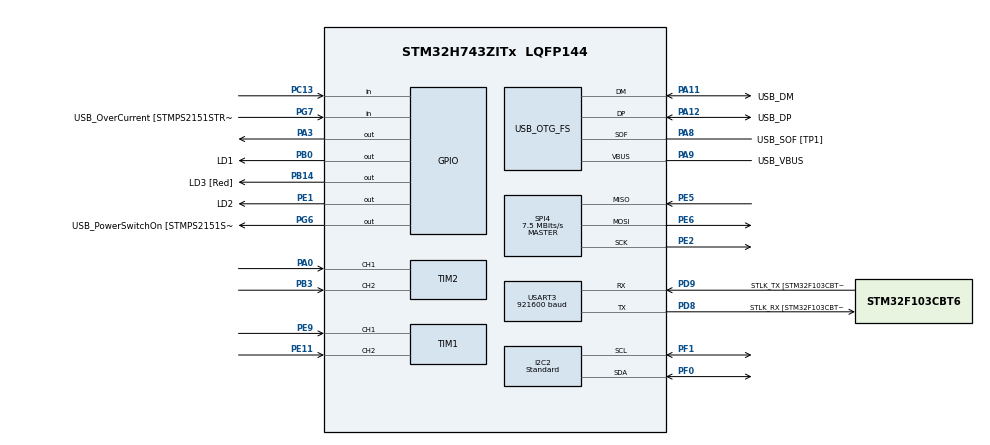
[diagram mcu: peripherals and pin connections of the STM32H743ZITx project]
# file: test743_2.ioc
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I2C2.I2C_Speed_Mode=I2C_Standard
I2C2.Timing=0x307075B1
Mcu.Family=STM32H7
Mcu.Name=STM32H743ZITx
Mcu.Package=LQFP144
NVIC.I2C2_ER_IRQn=true\:13\:0\:true\:false\:true\:true\:true
NVIC.I2C2_EV_IRQn=true\:13\:0\:true\:false\:true\:true\:true
NVIC.PriorityGroup=NVIC_PRIORITYGROUP_4
NVIC.SPI4_IRQn=true\:14\:0\:true\:false\:true\:true\:true
NVIC.TIM15_IRQn=true\:0\:0\:false\:false\:true\:true\:true
NVIC.TIM3_IRQn=true\:0\:0\:false\:false\:true\:true\:true
NVIC.TIM5_IRQn=true\:14\:0\:true\:false\:true\:true\:true
PA0.Signal=S_TIM2_CH1
PA1.GPIO_Label=RMII_REF_CLK
PA1.Signal=ETH_REF_CLK
PA10.GPIO_Label=USB_ID
PA10.Signal=USB_OTG_FS_ID
PA11.GPIO_Label=USB_DM
PA11.Mode=Device_Only
PA11.Signal=USB_OTG_FS_DM
PA12.GPIO_Label=USB_DP
PA12.Mode=Device_Only
PA12.Signal=USB_OTG_FS_DP
PA2.GPIO_Label=RMII_MDIO
PA2.Signal=ETH_MDIO
PA3.PinState=GPIO_PIN_SET
PA3.Signal=GPIO_Output
PA7.GPIO_Label=RMII_CRS_DV
PA7.Signal=ETH_CRS_DV
PA8.GPIO_Label=USB_SOF [TP1]
PA8.Mode=Activate_SOF_FS
PA8.Signal=USB_OTG_FS_SOF
PA9.GPIO_Label=USB_VBUS
PA9.Mode=Activate_VBUS
PA9.Signal=USB_OTG_FS_VBUS
PB0.GPIO_Label=LD1
PB0.Signal=GPIO_Output
PB13.GPIO_Label=RMII_TXD1
PB13.Signal=ETH_TXD1
PB14.GPIO_Label=LD3 [Red]
PB14.Signal=GPIO_Output
PB3\ (JTDO/TRACESWO).Signal=S_TIM2_CH2
PC1.GPIO_Label=RMII_MDC
PC1.Signal=ETH_MDC
PC13.Signal=GPIO_Input
PC14-OSC32_IN\ (OSC32_IN).Mode=LSE-External-Oscillator
PC14-OSC32_IN\ (OSC32_IN).Signal=RCC_OSC32_IN
PC15-OSC32_OUT\ (OSC32_OUT).Mode=LSE-External-Oscillator
PC15-OSC32_OUT\ (OSC32_OUT).Signal=RCC_OSC32_OUT
PC4.GPIO_Label=RMII_RXD0
PC4.Signal=ETH_RXD0
PC5.GPIO_Label=RMII_RXD1
PC5.Signal=ETH_RXD1
PD8.GPIO_Label=STLK_RX [STM32F103CBT6_PA3]
PD8.Mode=Asynchronous
PD8.Signal=USART3_TX
PD9.GPIO_Label=STLK_TX [STM32F103CBT6_PA2]
PD9.Mode=Asynchronous
PD9.Signal=USART3_RX
PE1.GPIO_Label=LD2
PE1.Signal=GPIO_Output
PE11.Signal=S_TIM1_CH2
PE2.Mode=Full_Duplex_Master
PE2.Signal=SPI4_SCK
PE5.Mode=Full_Duplex_Master
PE5.Signal=SPI4_MISO
PE6.Mode=Full_Duplex_Master
PE6.Signal=SPI4_MOSI
PE9.Signal=S_TIM1_CH1
PF0.Mode=I2C
PF0.Signal=I2C2_SDA
PF1.Mode=I2C
PF1.Signal=I2C2_SCL
PG11.GPIO_Label=RMII_TX_EN
PG11.Signal=ETH_TX_EN
PG13.GPIO_Label=RMII_TXD0
PG13.Signal=ETH_TXD0
PG6.GPIO_Label=USB_PowerSwitchOn [STMPS2151STR_EN]
PG6.Signal=GPIO_Output
PG7.GPIO_Label=USB_OverCurrent [STMPS2151STR_FAULT]
PG7.Signal=GPIO_Input
PH0-OSC_IN\ (PH0).GPIO_Label=MCO
PH0-OSC_IN\ (PH0).Mode=HSE-External-Clock-Source
PH0-OSC_IN\ (PH0).Signal=RCC_OSC_IN
ProjectManager.HeapSize=0x200
ProjectManager.StackSize=0x400
ProjectManager.TargetToolchain=STM32CubeIDE
RCC.48MHZClocksFreq_Value=24000000
RCC.ADCFreq_Value=1024000000
RCC.AHBFreq_Value=216000000
RCC.APB1CLKDivider=RCC_HCLK_DIV4
RCC.APB1Freq_Value=120000000
RCC.APB1TimFreq_Value=108000000
RCC.APB2CLKDivider=RCC_HCLK_DIV2
RCC.APB2Freq_Value=120000000
RCC.APB2TimFreq_Value=216000000
RCC.APB3Freq_Value=120000000
RCC.APB4Freq_Value=120000000
RCC.CortexFreq_Value=480000000
RCC.D1PPRE=RCC_APB3_DIV2
RCC.D2PPRE1=RCC_APB1_DIV2
RCC.D2PPRE2=RCC_APB2_DIV2
RCC.D3PPRE=RCC_APB4_DIV2
RCC.DIVM1=2
RCC.DIVM2=1
RCC.DIVM3=1
RCC.DIVN1=240
RCC.DIVN2=256
RCC.DIVN3=256
RCC.DIVQ1=4
RCC.DIVQ2=1
RCC.DIVQ3=1
RCC.HCLKFreq_Value=240000000
RCC.HPRE=RCC_HCLK_DIV2
RCC.HSE_VALUE=8000000
RCC.HSI_VALUE=64000000
RCC.PLLFRACN=0
RCC.PLLM=25
RCC.PLLMUL=RCC_PLL_MUL9
RCC.PLLN=432
RCC.PLLQ=9
RCC.PLLSourceVirtual=RCC_PLLSOURCE_HSE
RCC.PRESCALERUSB=RCC_USBCLKSOURCE_PLL_DIV1_5
RCC.PWR_Regulator_Voltage_Scale=PWR_REGULATOR_VOLTAGE_SCALE1
RCC.SYSCLKFreq_VALUE=480000000
RCC.SYSCLKSource=RCC_SYSCLKSOURCE_PLLCLK
RCC.SYSCLKSourceVirtual=RCC_SYSCLKSOURCE_PLLCLK
RCC.USBCLockSelection=RCC_USBCLKSOURCE_HSI48
RCC.USBFreq_Value=48000000
RCC.VCOOutputFreq_Value=432000000
SH.S_TIM1_CH1.0=TIM1_CH1,Encoder_Interface
SH.S_TIM1_CH2.0=TIM1_CH2,Encoder_Interface
SH.S_TIM2_CH1.0=TIM2_CH1,Encoder_Interface
SH.S_TIM2_CH2.0=TIM2_CH2,Encoder_Interface
SPI4.BaudRatePrescaler=SPI_BAUDRATEPRESCALER_16
SPI4.CLKPhase=SPI_PHASE_2EDGE
SPI4.CLKPolarity=SPI_POLARITY_HIGH
SPI4.CalculateBaudRate=7.5 MBits/s
SPI4.DataSize=SPI_DATASIZE_8BIT
SPI4.Direction=SPI_DIRECTION_2LINES
SPI4.IOSwap=SPI_IO_SWAP_DISABLE
SPI4.Mode=SPI_MODE_MASTER
SPI4.NSSPMode=SPI_NSS_PULSE_ENABLE
SPI4.VirtualType=VM_MASTER
TIM1.EncoderMode=TIM_ENCODERMODE_TI12
TIM15.Period=49
TIM15.Prescaler=239
TIM2.EncoderMode=TIM_ENCODERMODE_TI12
TIM3.AutoReloadPreload=TIM_AUTORELOAD_PRELOAD_DISABLE
TIM3.Period=249
TIM3.Prescaler=239
TIM5.Period=249
TIM5.Prescaler=239
USART3.BaudRate=921600
USART3.VirtualMode-Asynchronous=VM_ASYNC
USB_OTG_FS.VirtualMode=Device_Only
VP_TIM15_VS_ClockSourceINT.Mode=Internal
VP_TIM3_VS_ClockSourceINT.Mode=Internal
VP_TIM5_VS_ClockSourceINT.Mode=Internal
board=NUCLEO-H743ZI

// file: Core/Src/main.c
/* USER CODE BEGIN Header */
/**
  ******************************************************************************
  * @file           : main.c
  * @brief          : Main program body
  ******************************************************************************
  * @attention
  *
  * <h2><center>&copy; Copyright (c) 2020 STMicroelectronics.
  * All rights reserved.</center></h2>
  *
  * This software component is licensed by ST under BSD 3-Clause license,
  * the "License"; You may not use this file except in compliance with the
  * License. You may obtain a copy of the License at:
  *                        opensource.org/licenses/BSD-3-Clause
  *
  ******************************************************************************
  */
/* USER CODE END Header */
#include "main.h"
#include "i2c.h"
#include "spi.h"
#include "tim.h"
#include "usart.h"
#include "usb_otg.h"
#include "gpio.h"

/* USER CODE BEGIN Includes */
#include <stdio.h>
#include <string.h>
#include <stdint.h>
#include "stm32h7xx_it.h"
#include "../../Drivers/api/inc/vl53l0x_api.h"
#include "vl53l0x_calibration.h"
//#include "vl53l0x/vl53l0x_class.h"
#include "PhysicalBasement.h"
//#include "../../Drivers/VL53L0X/core/inc/vl53l0x_api.h"
/* USER CODE END Includes */

void SystemClock_Config(void);

/* USER CODE BEGIN 0 */
uint8_t char_buf[256];
uint8_t rx_data[2];
uint8_t tx_data[2];
uint8_t Message[64];
uint8_t MessageLen;
VL53L0X_Dev_t myDevStruct[3];
VL53L0X_DEV myDev;
void writeByte(uint8_t reg, uint8_t data)
{

    tx_data[0] = reg & 0x7F;
    tx_data[1] = data;  // write data

    LL_GPIO_ResetOutputPin(GPIOA, LL_GPIO_PIN_3);
    HAL_SPI_TransmitReceive(&hspi4, tx_data, rx_data, 2, 1);
    LL_GPIO_SetOutputPin(GPIOA, LL_GPIO_PIN_3);
}
uint8_t readByte(uint8_t reg)
{

    tx_data[0] = reg | 0x80;
    tx_data[1] = 0x00;  // dummy

    LL_GPIO_ResetOutputPin(GPIOA, LL_GPIO_PIN_3);
    HAL_SPI_TransmitReceive(&hspi4, tx_data, rx_data, 2, 1);
    LL_GPIO_SetOutputPin(GPIOA, LL_GPIO_PIN_3);

    return rx_data[1];
}

uint16_t read1Byte(uint8_t reg)
{

    uint8_t tx_data[2];
    tx_data[0] = reg | 0x80;
    tx_data[1] = 0x00;  // dummy
    uint8_t rx_data[2];
    LL_GPIO_ResetOutputPin(GPIOA, LL_GPIO_PIN_3);
    HAL_SPI_TransmitReceive(&hspi4, tx_data, rx_data, 2, 1);
    LL_GPIO_SetOutputPin(GPIOA, LL_GPIO_PIN_3);

    return (uint16_t)rx_data[1];
}
uint16_t read2Byte(uint8_t reg)
{
    uint8_t tx_data[3];
    tx_data[0] = reg | 0x80;
    tx_data[1] = 0;
    tx_data[2] = 0x00;  // dummy
    uint8_t rx_data[3];
    LL_GPIO_ResetOutputPin(GPIOA, LL_GPIO_PIN_3);
    HAL_SPI_TransmitReceive(&hspi4, tx_data, rx_data, 3, 1);
    LL_GPIO_SetOutputPin(GPIOA, LL_GPIO_PIN_3);
    signed short tmp = (signed short) ((((unsigned int) (rx_data[1] & 0xff)) << 8)
                               | ((unsigned int) (rx_data[2] & 0xff)));
    printf("%d, %d, %d, %d\r\n", rx_data[0], rx_data[1], rx_data[2], tmp);
    return (uint16_t)rx_data[1];
}

uint8_t g_tx_data[3];
uint8_t g_rx_data[3];
uint16_t read2Byte2(uint8_t reg)
{
    g_tx_data[0] = reg | 0x80;
    g_tx_data[1] = 0;
    g_tx_data[2] = 0x00;  // dummy
    g_rx_data[0] = g_rx_data[1] = g_rx_data[2] =0;

    HAL_SPI_Transmit_IT(&hspi4, g_tx_data, 3);
    HAL_SPI_Receive_IT(&hspi4, g_rx_data, 3);

    auto tmp = (signed short) ((((unsigned int) (g_rx_data[1] & 0xff)) << 8)
                               | ((unsigned int) (g_rx_data[2] & 0xff)));
    printf("   %d, %d, %d, %d\r\n", g_rx_data[0], g_rx_data[1], g_rx_data[2], tmp);
    return (uint16_t)rx_data[1];
}
float mpu6500_read_gyro_z( void )
{
    int16_t gyro_z;
    float omega;

    return omega;
}
#define VL53L0X_MAX_STRING_LENGTH 32

void print_pal_error(VL53L0X_Error Status){
    char buf[VL53L0X_MAX_STRING_LENGTH];
    VL53L0X_GetPalErrorString(Status, buf);
    printf("API Status: %i : %s\n", Status, buf);
}

VL53L0X_Error rangingTest(VL53L0X_Dev_t *pMyDevice) {
    VL53L0X_Error Status = VL53L0X_ERROR_NONE;
    VL53L0X_RangingMeasurementData_t RangingMeasurementData;
    int i;
    FixPoint1616_t LimitCheckCurrent;
    uint32_t refSpadCount;
    uint8_t isApertureSpads;
    uint8_t VhvSettings;
    uint8_t PhaseCal;

    if (Status == VL53L0X_ERROR_NONE) {
        printf("Call of VL53L0X_StaticInit\n");
        Status = VL53L0X_StaticInit(pMyDevice); // Device Initialization
        print_pal_error(Status);
    }

    if (Status == VL53L0X_ERROR_NONE) {
        printf("Call of VL53L0X_PerformRefCalibration\n");
        Status = VL53L0X_PerformRefCalibration(pMyDevice,
                                               &VhvSettings, &PhaseCal); // Device Initialization
        print_pal_error(Status);
    }

    if (Status == VL53L0X_ERROR_NONE) // needed if a coverglass is used and no calibration has been performed
    {
        printf("Call of VL53L0X_PerformRefSpadManagement\n");
        Status = VL53L0X_PerformRefSpadManagement(pMyDevice,
                                                  &refSpadCount, &isApertureSpads); // Device Initialization
        printf("refSpadCount = %d, isApertureSpads = %d\n", refSpadCount, isApertureSpads);
        print_pal_error(Status);
    }

    if (Status == VL53L0X_ERROR_NONE) {

        // no need to do this when we use VL53L0X_PerformSingleRangingMeasurement
        printf("Call of VL53L0X_SetDeviceMode\n");
        Status = VL53L0X_SetDeviceMode(pMyDevice, VL53L0X_DEVICEMODE_SINGLE_RANGING); // Setup in single ranging mode
        print_pal_error(Status);
    }

    // Enable/Disable Sigma and Signal check
    if (Status == VL53L0X_ERROR_NONE) {
        Status = VL53L0X_SetLimitCheckEnable(pMyDevice,
                                             VL53L0X_CHECKENABLE_SIGMA_FINAL_RANGE, 1);
    }
    if (Status == VL53L0X_ERROR_NONE) {
        Status = VL53L0X_SetLimitCheckEnable(pMyDevice,
                                             VL53L0X_CHECKENABLE_SIGNAL_RATE_FINAL_RANGE, 1);
    }

    if (Status == VL53L0X_ERROR_NONE) {
        Status = VL53L0X_SetLimitCheckValue(pMyDevice,
                                            VL53L0X_CHECKENABLE_SIGNAL_RATE_FINAL_RANGE,
                                            (FixPoint1616_t) (0.25 * 65536));
    }
    if (Status == VL53L0X_ERROR_NONE) {
        Status = VL53L0X_SetLimitCheckValue(pMyDevice,
                                            VL53L0X_CHECKENABLE_SIGMA_FINAL_RANGE,
                                            (FixPoint1616_t) (18 * 65536));
    }
    if (Status == VL53L0X_ERROR_NONE) {
        Status = VL53L0X_SetMeasurementTimingBudgetMicroSeconds(pMyDevice,
                                                                200000);
    }
    /*
     *  Step  4 : Test ranging mode
     */

    if (Status == VL53L0X_ERROR_NONE) {
        for (i = 0; i < 10; i++) {
            printf("Call of VL53L0X_PerformSingleRangingMeasurement\n");
            Status = VL53L0X_PerformSingleRangingMeasurement(pMyDevice,
                                                             &RangingMeasurementData);

//            print_pal_error(Status);
//            print_range_status(&RangingMeasurementData);

            VL53L0X_GetLimitCheckCurrent(pMyDevice,
                                         VL53L0X_CHECKENABLE_RANGE_IGNORE_THRESHOLD, &LimitCheckCurrent);

            printf("RANGE IGNORE THRESHOLD: %f\n\n", (float) LimitCheckCurrent / 65536.0);

            if (Status != VL53L0X_ERROR_NONE) break;

            printf("Measured distance: %i\n\n", RangingMeasurementData.RangeMilliMeter);

        }
    }
    return Status;
}

/* USER CODE END 0 */

int main(void)
{

  /* MCU Configuration--------------------------------------------------------*/

  /* Reset of all peripherals, Initializes the Flash interface and the Systick. */
  HAL_Init();

  /* Configure the system clock */
  SystemClock_Config();

  /* Initialize all configured peripherals */
  MX_GPIO_Init();
  MX_USART3_UART_Init();
  MX_USB_OTG_FS_PCD_Init();
  MX_TIM5_Init();
  MX_SPI4_Init();
  MX_TIM1_Init();
  MX_TIM2_Init();
  MX_TIM3_Init();
  MX_TIM15_Init();
  MX_I2C2_Init();
  /* USER CODE BEGIN 2 */
//    HAL_SPI_MspInit(&hspi4);

    auto res = HAL_SPI_Init(&hspi4);
    HAL_SPI_IRQHandler(&hspi4);
    LL_GPIO_ResetOutputPin(GPIOA, LL_GPIO_PIN_3);
    setbuf(stdout, NULL);
    printf("who am i = %d\r\n", readByte(0x75));
//    writeByte(0x6B, 0x80);
//    VL53L0X_Start();
//    vl53l0x_calibration();

//    myDev = &myDevStruct[0];
//    VL53L0X_StartMeasurement(myDev);
//    VL53L0X_ClearInterruptMask(myDev, -1);
//    HAL_Delay(1);
    if (HAL_I2C_Init(&hi2c2) != HAL_OK){
        printf("NG\r\n");
    }else{
        printf("OK\r\n");
    }
    LL_mDelay(1000);
//    I2Cx_FORCE_RESET();
//    HAL_I2C_Mem_Write(&hi2c2, 0x29, 0x6b, I2C_MEMADD_SIZE_8BIT, (uint8_t *) ret, 0x01, 100);
    printf("%d\r\n",hi2c2.State);
    LL_mDelay(1000);
    VL53L0X_Dev_t MyDevice;
    VL53L0X_Dev_t *pMyDevice = &MyDevice;
    VL53L0X_Version_t Version;
    VL53L0X_Version_t *pVersion = &Version;
    VL53L0X_DeviceInfo_t DeviceInfo;
    LL_mDelay(1000);

    writeByte(0x6B, 0x01);
    LL_mDelay(10);
    writeByte(0x1A, 0x00);
    LL_mDelay(10);
    writeByte(0x6A, 0x10);
    LL_mDelay(10);
    writeByte(0x1B, 0x18);
    LL_mDelay(10);

    LL_TIM_EnableCounter(TIM5);
    LL_TIM_EnableIT_UPDATE(TIM5);
    LL_TIM_EnableCounter(TIM3);
    LL_TIM_EnableIT_UPDATE(TIM3);
    LL_TIM_EnableCounter(TIM15);
    LL_TIM_EnableIT_UPDATE(TIM15);

    LL_TIM_EnableCounter(TIM1);
    RT_MODEL_PhysicalBasement_T PhysicalBasement_M;
    t_SensorData data;
    real_T out1, out2;
    data.light_sensor.right45 = 1000;
    PhysicalBasement_step(&PhysicalBasement_M, &data, &out1, &out2);
    printf("%f, %f \r\n",out1,out2);
    LL_mDelay(3000);
    // Enable/Disable Sigma and Signal check

  /* USER CODE END 2 */

  /* Infinite loop */
  while (1)
  {

    /* USER CODE BEGIN 3 */
      setbuf(stdout, NULL);
      t_SensorRawData sen_data = getSensorData();
//      get_tof();
//      uint32_t distance;
//      int status=VL53L0X_GetDistance(&sensor1, &distance);
//      printf("%d %d\r\n",status, distance);
      printf("enc(tim1) = %d  %d  %d  %d  %d  %d  %d\r\n", sen_data.encoder.r, sen_data.gyro.rawdata[0], sen_data.gyro.rawdata[1],
             sen_data.gyro.rawdata[2], sen_data.gyro.rawdata[3], sen_data.gyro.rawdata[4],sen_data.dist);
//      MessageLen = sprintf((char *) Message, "Measured distance: %i\n\r", RangingData.RangeMilliMeter);
//      printf("%s\r\n", MessageLen);
//      HAL_UART_Transmit(&huart2, Message, MessageLen, 100);
//      TofDataRead = 0;

      LL_mDelay(10);
  }
  /* USER CODE END 3 */
}

void SystemClock_Config(void)
{
  LL_FLASH_SetLatency(LL_FLASH_LATENCY_4);
  while(LL_FLASH_GetLatency()!= LL_FLASH_LATENCY_4)
  {
  }
  LL_PWR_ConfigSupply(LL_PWR_LDO_SUPPLY);
  LL_PWR_SetRegulVoltageScaling(LL_PWR_REGU_VOLTAGE_SCALE1);
  LL_RCC_HSE_EnableBypass();
  LL_RCC_HSE_Enable();

   /* Wait till HSE is ready */
  while(LL_RCC_HSE_IsReady() != 1)
  {

  }
  LL_RCC_HSI48_Enable();

   /* Wait till HSI48 is ready */
  while(LL_RCC_HSI48_IsReady() != 1)
  {

  }
  LL_RCC_PLL_SetSource(LL_RCC_PLLSOURCE_HSE);
  LL_RCC_PLL1P_Enable();
  LL_RCC_PLL1_SetVCOInputRange(LL_RCC_PLLINPUTRANGE_4_8);
  LL_RCC_PLL1_SetVCOOutputRange(LL_RCC_PLLVCORANGE_WIDE);
  LL_RCC_PLL1_SetM(2);
  LL_RCC_PLL1_SetN(240);
  LL_RCC_PLL1_SetP(2);
  LL_RCC_PLL1_SetQ(4);
  LL_RCC_PLL1_SetR(2);
  LL_RCC_PLL1_Enable();

   /* Wait till PLL is ready */
  while(LL_RCC_PLL1_IsReady() != 1)
  {
  }

   /* Intermediate AHB prescaler 2 when target frequency clock is higher than 80 MHz */
   LL_RCC_SetAHBPrescaler(LL_RCC_AHB_DIV_2);

  LL_RCC_SetSysClkSource(LL_RCC_SYS_CLKSOURCE_PLL1);
  LL_RCC_SetSysPrescaler(LL_RCC_SYSCLK_DIV_1);
  LL_RCC_SetAHBPrescaler(LL_RCC_AHB_DIV_2);
  LL_RCC_SetAPB1Prescaler(LL_RCC_APB1_DIV_2);
  LL_RCC_SetAPB2Prescaler(LL_RCC_APB2_DIV_2);
  LL_RCC_SetAPB3Prescaler(LL_RCC_APB3_DIV_2);
  LL_RCC_SetAPB4Prescaler(LL_RCC_APB4_DIV_2);
  LL_SetSystemCoreClock(480000000);

   /* Update the time base */
  if (HAL_InitTick (TICK_INT_PRIORITY) != HAL_OK)
  {
    Error_Handler();
  }
  LL_RCC_SetI2CClockSource(LL_RCC_I2C123_CLKSOURCE_PCLK1);
  LL_RCC_SetSPIClockSource(LL_RCC_SPI45_CLKSOURCE_PCLK2);
  LL_RCC_SetUSARTClockSource(LL_RCC_USART234578_CLKSOURCE_PCLK1);
  LL_RCC_SetUSBClockSource(LL_RCC_USB_CLKSOURCE_HSI48);
}

/* USER CODE BEGIN 4 */
void USART_TransmitByte(uint8_t ch){
    LL_USART_TransmitData8(USART3,ch);
    while(LL_USART_IsActiveFlag_TXE(USART3)==0);
}

void __io_putchar(uint8_t ch){
    USART_TransmitByte(ch);
}
void HAL_SPI_TxCpltCallback (SPI_HandleTypeDef *hspi){
  printf("tx callback\r\n");

  LL_GPIO_ResetOutputPin(GPIOA, LL_GPIO_PIN_3);
}
void HAL_SPI_RxCpltCallback (SPI_HandleTypeDef *hspi){
  printf("rx callback\r\n");

  LL_GPIO_SetOutputPin(GPIOA, LL_GPIO_PIN_3);

    auto tmp = (signed short) ((((unsigned int) (g_rx_data[1] & 0xff)) << 8)
                               | ((unsigned int) (g_rx_data[2] & 0xff)));
    printf("   %d, %d, %d, %d\r\n", g_rx_data[0], g_rx_data[1], g_rx_data[2], tmp);

}

/* USER CODE END 4 */

void Error_Handler(void)
{
}

/************************ (C) COPYRIGHT STMicroelectronics *****END OF FILE****/
